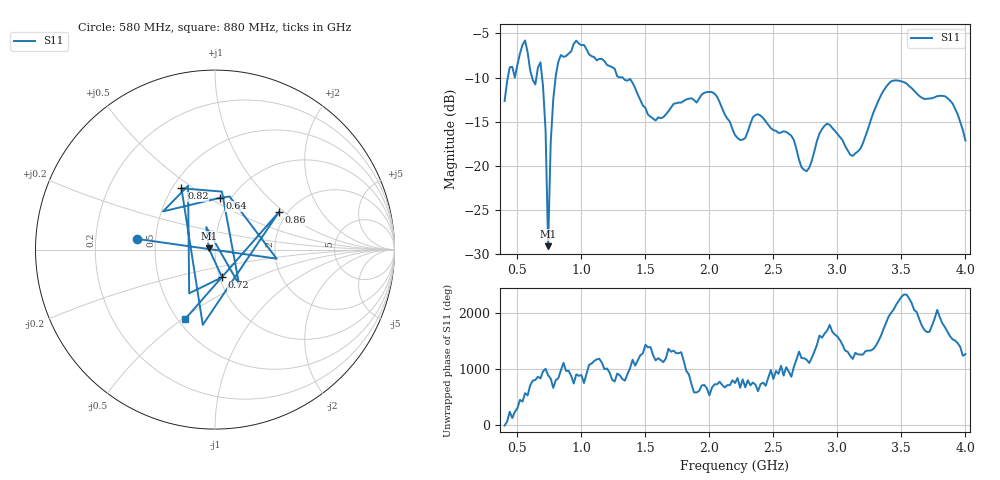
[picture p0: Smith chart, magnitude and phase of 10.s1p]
!Created with skrf (http://scikit-rf.org).
# Hz S RI R 50.0
!freq ReS11 ImS11
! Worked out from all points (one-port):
!   181 points, 400 MHz to 4 GHz, reference 50 ohm
!   lowest |S11| = -29.1 dB at 740 MHz (marker M1), VSWR 1.07, Z = 46.7 + j0.606 ohm
!   |S11| at or under -10 dB: start of sweep to 425 MHz; 692.8 MHz to 798.2 MHz (105.3 MHz wide, 14.1 % of centre); 1.323 GHz to end of sweep (the widest 3 of 4)
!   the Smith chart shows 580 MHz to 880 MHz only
!   S11 on the Smith chart (normalised r, x): 580 MHz: 0.39, +0.06; 640 MHz: 0.89, +0.56; 720 MHz: 1.03, -0.33; 820 MHz: 0.56, +0.45; 860 MHz: 1.81, +0.92; 880 MHz: 0.55, -0.51
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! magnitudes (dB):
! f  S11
! 400 MHz  -12.6
! 440 MHz  -8.8
! 480 MHz  -10.0
! 580 MHz  -7.1
! 640 MHz  -10.8
! 680 MHz  -8.3
! 720 MHz  -16.0
! 740 MHz  -29.1
! 760 MHz  -17.4
! 780 MHz  -12.5
! 820 MHz  -8.2
! 860 MHz  -7.6
! 880 MHz  -7.6
! 960 MHz  -5.8
! 1.3 GHz  -10.0
! 1.58 GHz  -14.9
! 1.76 GHz  -12.8
! 2.02 GHz  -11.6
! 2.2 GHz  -16.5
! 2.38 GHz  -14.1
! 2.66 GHz  -17.1
! 2.76 GHz  -20.6
! 2.92 GHz  -15.2
! 3.1 GHz  -18.7
! 3.4 GHz  -10.7
! 3.56 GHz  -11.0
! 3.88 GHz  -12.6
! 4 GHz  -17.1
